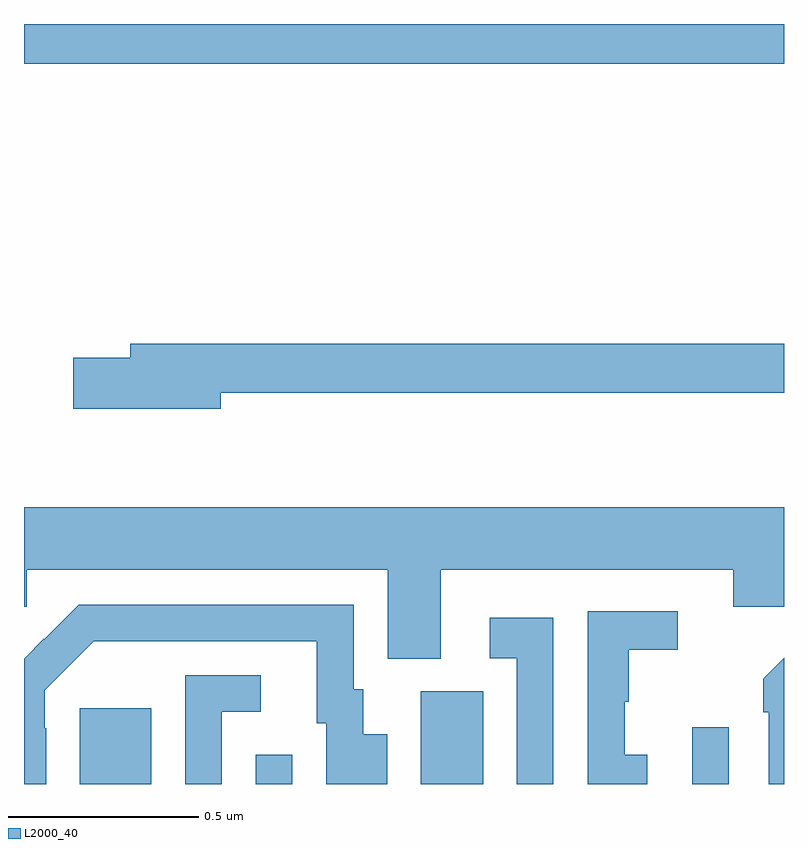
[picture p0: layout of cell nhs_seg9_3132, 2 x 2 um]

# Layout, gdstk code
import gdstk
lib = gdstk.Library(unit=1e-6, precision=1e-09)
def R(c, l, rs):  # rectangles x0, y0, x1, y1
    for r in rs: c.add(gdstk.rectangle(r[:2], r[2:], *l))
def P(c, l, *ps):  # polygons
    for p in ps: c.add(gdstk.Polygon(p, *l))
L2000_40 = (2000, 40)

nhs_seg9_3132 = lib.new_cell('nhs_seg9_3132')
R(nhs_seg9_3132, L2000_40, [(149.147,1218.5,149.335,1218.7), (149.61,1218.5,149.706,1218.577), (150.044,1218.5,150.208,1218.744), (150.759,1218.5,150.855,1218.649), (149,1220.396,151,1220.5)])
P(nhs_seg9_3132, L2000_40, [(149.518,1219.53),(151,1219.53),(151,1219.658),(149.279,1219.658),(149.279,1219.622),(149.13,1219.622),(149.13,1219.487),(149.518,1219.487)],
  [(150.097,1219.064),(150.866,1219.064),(150.866,1218.966),(151,1218.966),(151,1219.228),(149,1219.228),(149,1218.966),(149.007,1218.966),(149.007,1219.064),(149.957,1219.064),(149.957,1218.829),(150.097,1218.829)],
  [(149.058,1218.647),(149.055,1218.647),(149.055,1218.747),(149.184,1218.876),(149.771,1218.876),(149.771,1218.66),(149.795,1218.66),(149.795,1218.5),(149.956,1218.5),(149.956,1218.631),(149.893,1218.631),(149.893,1218.75),(149.868,1218.75),(149.868,1218.972),(149.144,1218.972),(149.053,1218.881),(149.052,1218.882),(149,1218.83),(149,1218.5),(149.058,1218.5)],
  [(150.64,1218.577),(150.581,1218.577),(150.581,1218.717),(150.592,1218.717),(150.592,1218.853),(150.721,1218.853),(150.721,1218.954),(150.483,1218.954),(150.483,1218.5),(150.64,1218.5)],
  [(150.393,1218.937),(150.225,1218.937),(150.225,1218.831),(150.297,1218.831),(150.297,1218.5),(150.393,1218.5)],
  [(151,1218.832),(150.945,1218.777),(150.945,1218.689),(150.96,1218.689),(150.96,1218.5),(151,1218.5)],
  [(149.52,1218.69),(149.623,1218.69),(149.623,1218.786),(149.424,1218.786),(149.424,1218.5),(149.52,1218.5)])

lib.write_gds('nhs_seg9_3132.gds')
